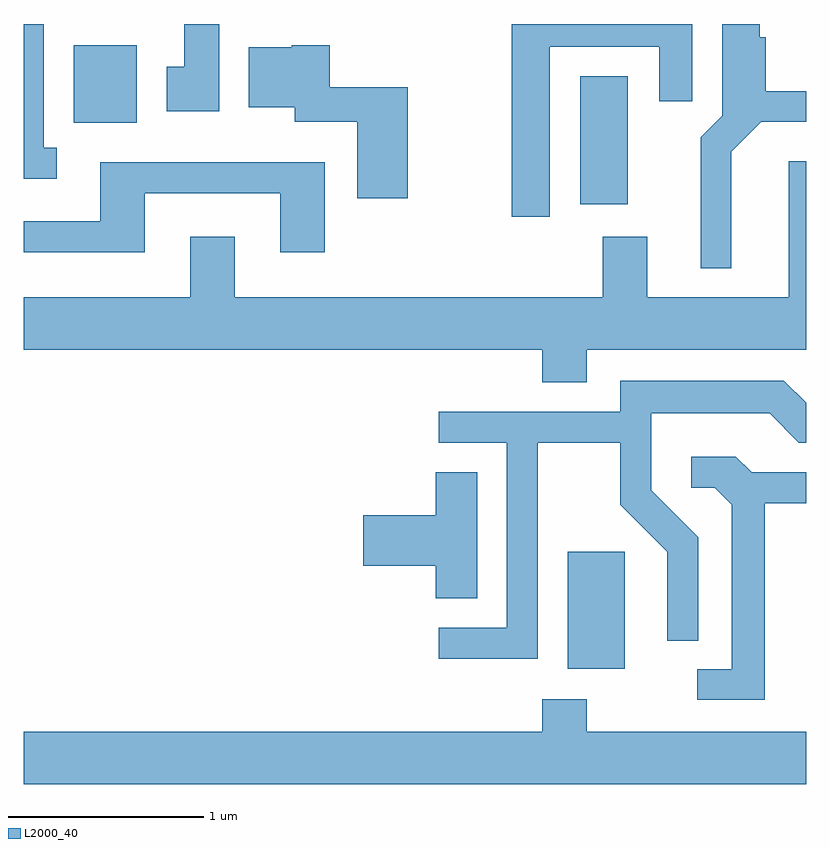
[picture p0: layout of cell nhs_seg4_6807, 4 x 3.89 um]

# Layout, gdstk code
import gdstk
lib = gdstk.Library(unit=1e-6, precision=1e-09)
def R(c, l, rs):  # rectangles x0, y0, x1, y1
    for r in rs: c.add(gdstk.rectangle(r[:2], r[2:], *l))
def P(c, l, *ps):  # polygons
    for p in ps: c.add(gdstk.Polygon(p, *l))
L2000_40 = (2000, 40)

nhs_seg4_6807 = lib.new_cell('nhs_seg4_6807')
R(nhs_seg4_6807, L2000_40, [(388.391,1268.686,388.684,1269.284), (388.456,1271.061,388.699,1271.714), (385.866,1271.476,386.189,1271.874)])
P(nhs_seg4_6807, L2000_40, [(386.609,1271.982),(386.431,1271.982),(386.431,1271.764),(386.341,1271.764),(386.341,1271.536),(386.609,1271.536)],
  [(388.299,1271.866),(388.861,1271.866),(388.861,1271.588),(389.029,1271.588),(389.029,1271.982),(388.106,1271.982),(388.106,1270.996),(388.299,1270.996)],
  [(385.778,1271.349),(385.714,1271.349),(385.714,1271.982),(385.611,1271.982),(385.611,1271.191),(385.778,1271.191)],
  [(389.229,1271.329),(389.382,1271.481),(389.611,1271.481),(389.611,1271.639),(389.404,1271.639),(389.404,1271.914),(389.374,1271.914),(389.374,1271.982),(389.181,1271.982),(389.181,1271.512),(389.071,1271.402),(389.071,1270.733),(389.229,1270.733)],
  [(387.574,1271.659),(387.174,1271.659),(387.174,1271.874),(386.98,1271.874),(386.98,1271.864),(386.761,1271.864),(386.761,1271.556),(386.996,1271.556),(386.996,1271.481),(387.316,1271.481),(387.316,1271.091),(387.574,1271.091)],
  [(388.489,1270.316),(389.611,1270.316),(389.611,1271.279),(389.521,1271.279),(389.521,1270.584),(388.799,1270.584),(388.799,1270.894),(388.571,1270.894),(388.571,1270.584),(386.689,1270.584),(386.689,1270.894),(386.461,1270.894),(386.461,1270.584),(385.611,1270.584),(385.611,1270.316),(388.261,1270.316),(388.261,1270.151),(388.489,1270.151)],
  [(386.229,1271.116),(386.921,1271.116),(386.921,1270.816),(387.149,1270.816),(387.149,1271.274),(386.001,1271.274),(386.001,1270.974),(385.611,1270.974),(385.611,1270.816),(386.229,1270.816)],
  [(388.239,1269.841),(388.661,1269.841),(388.661,1269.524),(388.901,1269.284),(388.901,1268.828),(389.059,1268.828),(389.059,1269.357),(388.819,1269.597),(388.819,1269.991),(389.424,1269.991),(389.574,1269.841),(389.611,1269.841),(389.611,1270.045),(389.497,1270.159),(388.661,1270.159),(388.661,1269.999),(387.733,1269.999),(387.733,1269.841),(388.081,1269.841),(388.081,1268.894),(387.733,1268.894),(387.733,1268.736),(388.239,1268.736)],
  [(389.399,1269.531),(389.611,1269.531),(389.611,1269.689),(389.332,1269.689),(389.252,1269.769),(389.023,1269.769),(389.023,1269.611),(389.144,1269.611),(389.231,1269.524),(389.231,1268.684),(389.053,1268.684),(389.053,1268.526),(389.399,1268.526)],
  [(387.929,1269.689),(387.716,1269.689),(387.716,1269.469),(387.346,1269.469),(387.346,1269.211),(387.716,1269.211),(387.716,1269.046),(387.929,1269.046)],
  [(389.611,1268.364),(388.489,1268.364),(388.489,1268.529),(388.261,1268.529),(388.261,1268.364),(385.611,1268.364),(385.611,1268.096),(389.611,1268.096)])

lib.write_gds('nhs_seg4_6807.gds')
